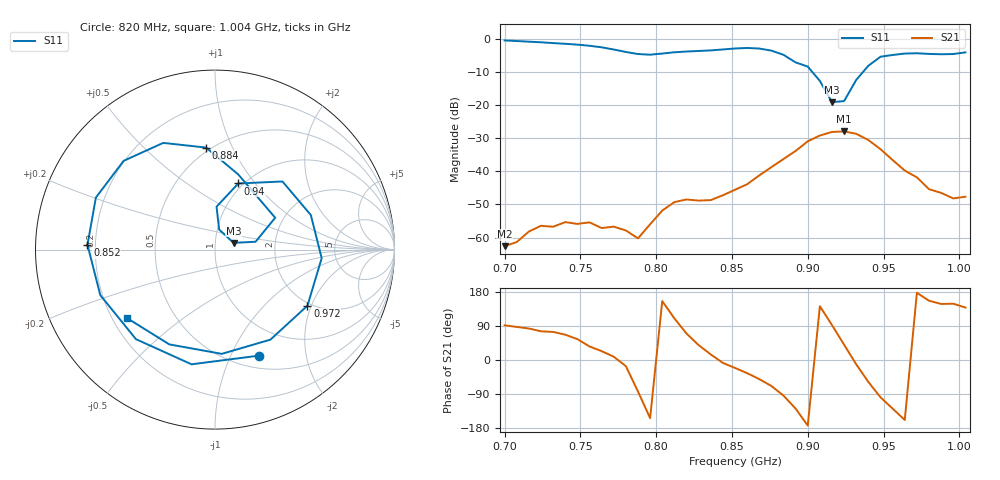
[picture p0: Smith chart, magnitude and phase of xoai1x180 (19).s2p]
# Hz S RI R 50
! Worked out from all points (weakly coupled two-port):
!   39 points, 700 MHz to 1.004 GHz, reference 50 ohm
!   highest |S21| = -27.97 dB at 924 MHz (marker M1); lowest = -62.6 dB at 700 MHz (marker M2)
!   lowest |S11| = -19.2 dB at 916 MHz (marker M3), VSWR 1.25, Z = 61.3 + j4.68 ohm
!   |S11| at or under -10 dB: 902.9 MHz to 936.6 MHz (33.64 MHz wide, 3.66 % of centre)
!   S12 and S22 are empty: the file has one direction only
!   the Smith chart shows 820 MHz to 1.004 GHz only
!   S11 on the Smith chart (normalised r, x): 820 MHz: 0.64, -1.29; 852 MHz: 0.17, +0.02; 884 MHz: 0.47, +0.80; 940 MHz: 0.95, +0.82; 972 MHz: 1.92, -1.88; 1.004 GHz: 0.26, -0.32
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7e8  0.7625 0.5495  -1.98e-05 0.000741  0 0  0 0
7.24e8  0.8469 -0.2464  0.000372 0.00146  0 0  0 0
7.4e8  0.455 -0.7027  0.000675 0.00157  0 0  0 0
7.56e8  -0.1972 -0.7564  0.00137 0.000989  0 0  0 0
7.72e8  -0.6602 -0.1859  0.00144 0.000221  0 0  0 0
7.8e8  -0.583 0.2391  0.00123 -0.000355  0 0  0 0
7.88e8  -0.2234 0.5419  0.000116 -0.000965  0 0  0 0
8.04e8  0.5785 0.1444  -0.00232 0.00106  0 0  0 0
8.2e8  0.2467 -0.5906  0.00129 0.00352  0 0  0 0
8.36e8  -0.4402 -0.4991  0.00355 0.000933  0 0  0 0
8.52e8  -0.7105 0.0264  0.00491 -0.00188  0 0  0 0
8.68e8  -0.509 0.4945  0.00551 -0.00666  0 0  0 0
8.84e8  -0.0499 0.5686  -0.00106 -0.0152  0 0  0 0
9e8  0.3354 0.1774  -0.0281 -0.00344  0 0  0 0
9.08e8  0.226 0.0437  -0.0272 0.0213  0 0  0 0
9.16e8  0.1035 0.0377  -0.00141 0.0391  0 0  0 0
9.24e8  0.023 0.1121  0.0305 0.0258  0 0  0 0
9.4e8  0.1298 0.3684  0.0157 -0.0251  0 0  0 0
9.56e8  0.5338 0.1927  -0.00915 -0.0116  0 0  0 0
9.72e8  0.5152 -0.3124  -0.00809 0.000364  0 0  0 0
9.88e8  0.0376 -0.5808  -0.004 0.00251  0 0  0 0
1.004e9  -0.4906 -0.3812  -0.00309 0.00274  0 0  0 0
